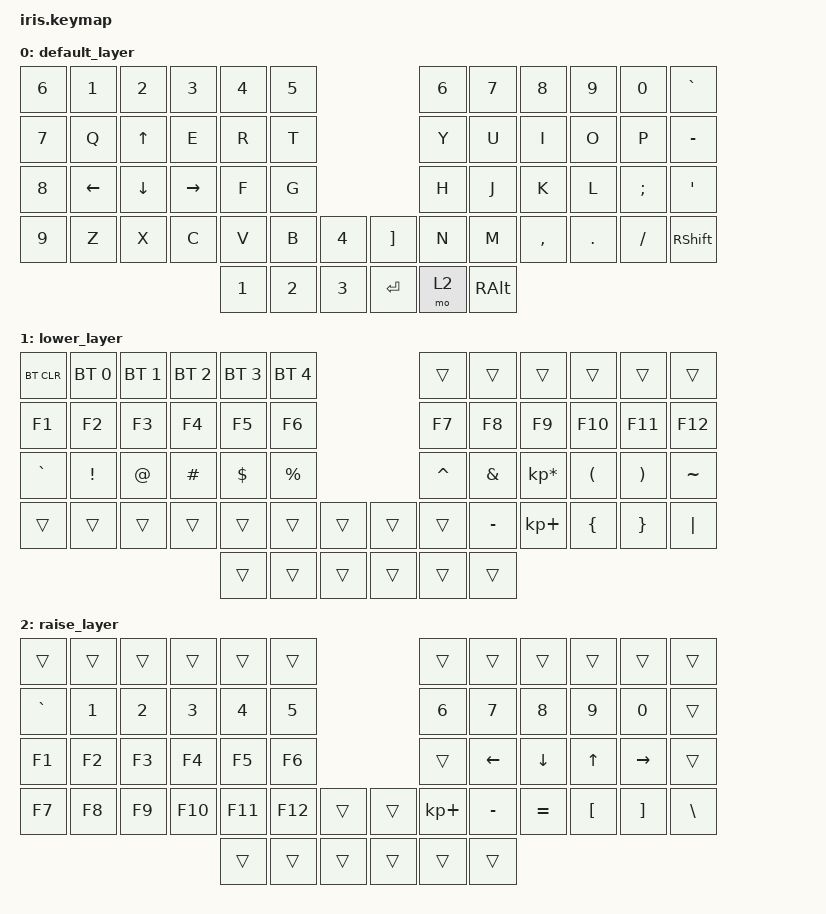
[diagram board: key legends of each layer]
/*
 * Copyright (c) 2020 The ZMK Contributors
 *
 * SPDX-License-Identifier: MIT
 */

#include <behaviors.dtsi>
#include <dt-bindings/zmk/keys.h>
#include <dt-bindings/zmk/bt.h>

/ {
	keymap {
		compatible = "zmk,keymap";

		default_layer {
// ------------------------------------------------------------------------------------------------------------
// |   6  |  1  |  2  |  3   |  4   |  5   |                   |  6   |  7    |  8    |  9   |   0   |   `   |
// |   7  |  Q  |  W  |  E   |  R   |  T   |                   |  Y   |  U    |  I    |  O   |   P   |   -   |
// |   8  |  A  |  S  |  D   |  F   |  G   |                   |  H   |  J    |  K    |  L   |   ;   |   '   |
// |   9  |  Z  |  X  |  C   |  V   |  B   |   4  |  |  "]"  |  N   |  M    |  ,    |  .   |   /   | SHIFT |
//                     		 |  1   |  2   |   3  |  | ENTER | RAISE|  ALT  |
			bindings = <
&kp N6   &kp N1 &kp N2 &kp N3 &kp N4   &kp N5                      &kp N6 &kp N7 &kp N8    &kp N9  &kp N0   &kp GRAVE
&kp N7   &kp Q  &kp UP  &kp E  &kp R    &kp T                       &kp Y  &kp U  &kp I     &kp O   &kp P    &kp MINUS
&kp N8   &kp LEFT  &kp DOWN  &kp RIGHT  &kp F    &kp G                       &kp H  &kp J  &kp K     &kp L   &kp SEMI &kp SQT
&kp N9   &kp Z  &kp X  &kp C  &kp V    &kp B    &kp N4  &kp RBKT  &kp N  &kp M  &kp COMMA &kp DOT &kp FSLH &kp RSHFT
                   			  &kp N1   &kp N2   &kp N3  &kp RET   &mo 2  &kp RALT
			>;
		};

		lower_layer {
// ------------------------------------------------------------------------------------------------------------
// | BTCLR | BT1 | BT2 |  BT3 |  BT4 |  BT5 |                   |      |       |       |      |       |       |
// |  F1   |  F2 |  F3 |  F4  |  F5  |  F6  |                   |  F7  |  F8   |  F9   |  F10 |  F11  |  F12  |
// |   `   |  !  |  @  |  #   |  $   |  %   |                   |  ^   |  &    |  *    |  (   |   )   |   ~   |
// |       |     |     |      |      |      |        |  |       |      |  _    |  +    |  {   |   }   |  "|"  |
//                            |      |      |        |  |       |      |       |
			bindings = <
&bt BT_CLR &bt BT_SEL 0 &bt BT_SEL 1 &bt BT_SEL 2 &bt BT_SEL 3 &bt BT_SEL 4                &trans    &trans    &trans          &trans    &trans    &trans
&kp F1     &kp F2       &kp F3       &kp F4       &kp F5       &kp F6                      &kp F7    &kp F8    &kp F9          &kp F10   &kp F11   &kp F12
&kp GRAVE  &kp EXCL     &kp AT       &kp HASH     &kp DOLLAR   &kp PRCNT                   &kp CARET &kp AMPS  &kp KP_MULTIPLY &kp LPAR  &kp RPAR  &kp TILDE
&trans     &trans       &trans       &trans       &trans       &trans    &trans   &trans   &trans    &kp MINUS &kp KP_PLUS     &kp LBRC  &kp RBRC  &kp PIPE
                   					              &trans       &trans    &trans   &trans   &trans    &trans
			>;
		};

		raise_layer {
// ------------------------------------------------------------------------------------------------------------
// |       |     |     |      |      |      |                   |      |       |       |      |       |       |
// |   `   |  1  |  2  |  3   |  4   |  5   |                   |  6   |   7   |   8   |  9   |   0   |       |
// |   F1  |  F2 |  F3 |  F4  |  F5  |  F6  |                   |      |   <-  |   ^   |  v   |  ->   |       |
// |   F7  |  F8 |  F9 |  F10 |  F11 |  F12 |        |  |       |  +   |   -   |   =   |  [   |   ]   |   \   |
//                            |      |      |        |  |       |      |       |
			bindings = <
&trans    &trans &trans &trans  &trans  &trans                       &trans      &trans    &trans    &trans   &trans    &trans
&kp GRAVE &kp N1 &kp N2 &kp N3  &kp N4  &kp N5                       &kp N6      &kp N7    &kp N8    &kp N9   &kp N0    &trans
&kp F1    &kp F2 &kp F3 &kp F4  &kp F5  &kp F6                       &trans      &kp LEFT  &kp DOWN  &kp UP   &kp RIGHT &trans
&kp F7    &kp F8 &kp F9 &kp F10 &kp F11 &kp F12   &trans   &trans    &kp KP_PLUS &kp MINUS &kp EQUAL &kp LBKT &kp RBKT  &kp BSLH
                   				&trans  &trans    &trans   &trans    &trans      &trans
			>;
		};
	};
};
